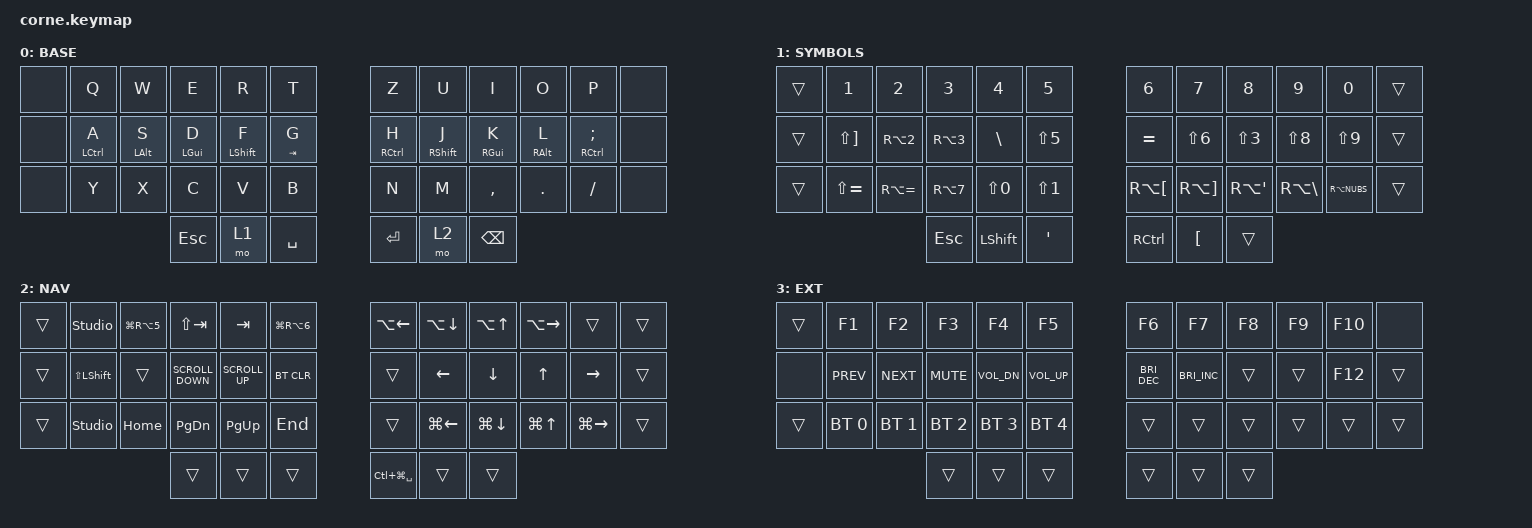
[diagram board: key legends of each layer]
#include <behaviors.dtsi>
#include <dt-bindings/zmk/bt.h>
#include <dt-bindings/zmk/keys.h>

&led_strip {
    chain-length = <0>;

    // chain-length = <27>;
    // 21 backlight + 6 glowlight
};

#define TAPPING_TERM 200

/ {
    behaviors {
        /*
    * td_lock groups locking functions into one key:
    *  - tap once to lock the host
    *  - tap twice to put the host to sleep
    */

        td_lock: tap_dance_lock {
            compatible = "zmk,behavior-tap-dance";
            label = "TAP_DANCE_LOCK";
            #binding-cells = <0>;
            tapping-term-ms = <TAPPING_TERM>;
            bindings = <&kp LG(LC(Q))>, <&kp LG(LA(C_EJECT))>;
        };

        hm: homerow_mods {
            compatible = "zmk,behavior-hold-tap";
            label = "HOMEROW_MODS";
            #binding-cells = <2>;
            tapping-term-ms = <TAPPING_TERM>;
            quick-tap-ms = <0>;
            flavor = "tap-preferred";
            bindings = <&kp>, <&kp>;
        };
    };

    combos {
        compatible = "zmk,combos";

        Clear_BLE_Profile {
            bindings = <&bt BT_CLR>;
            key-positions = <0 38 5>;
        };

        Space {
            bindings = <&kp SPACE>;
            key-positions = <29 28>;
        };

        Enter {
            bindings = <&kp ENTER>;
            key-positions = <17 16>;
        };

        Capslock {
            bindings = <&kp CLCK>;
            key-positions = <5 6>;
        };
    };

    macros {
        git_status: git_status {
            compatible = "zmk,behavior-macro";
            #binding-cells = <0>;
            bindings = <&kp G &kp I &kp T &kp SPACE &kp S &kp T &kp A &kp T &kp U &kp S>;
            label = "GIT_STATUS";
        };

        git_commit_all: git_commit_all {
            compatible = "zmk,behavior-macro";
            #binding-cells = <0>;
            bindings = <&kp G &kp I &kp T &kp SPACE &kp C &kp O &kp M &kp M &kp I &kp T &kp SPACE &kp SLASH &kp A &kp SLASH &kp M &kp SPACE &kp LS(N2) &kp LS(N2) &kp LEFT_ARROW>;
            label = "GIT_COMMIT";
        };
    };

    keymap {
        compatible = "zmk,keymap";

        base_layer {
            label = "BASE";
            bindings = <
&none  &kp Q        &kp W       &kp E       &kp R        &kp T        &kp Z        &kp U        &kp I          &kp O       &kp P           &none
&none  &hm LCTRL A  &hm LALT S  &hm LGUI D  &hm LSHFT F  &hm TAB G    &hm RCTRL H  &hm RSHFT J  &hm RGUI K     &hm RALT L  &hm RCTRL SEMI  &none
&none  &kp Y        &kp X       &kp C       &kp V        &kp B        &kp N        &kp M        &kp COMMA      &kp DOT     &kp SLASH       &none
                                &kp ESCAPE  &mo 1        &kp SPACE    &kp ENTER    &mo 2        &kp BACKSPACE
            >;
        };

        symbols_layer {
            label = "SYMBOLS";
            bindings = <
&trans  &kp N1         &kp N2         &kp N3      &kp N4         &kp N5        &kp N6        &kp N7        &kp N8        &kp N9             &kp N0        &trans
&trans  &kp LS(RBKT)   &kp RA(N2)     &kp RA(N3)  &kp BACKSLASH  &kp LS(N5)    &kp EQUAL     &kp LS(N6)    &kp LS(N3)    &kp LS(N8)         &kp LS(N9)    &trans
&trans  &kp LS(EQUAL)  &kp RA(EQUAL)  &kp RA(N7)  &kp LS(N0)     &kp LS(N1)    &kp RA(LBKT)  &kp RA(RBKT)  &kp RA(APOS)  &kp RA(BACKSLASH)  &kp RA(NUBS)  &trans
                                      &kp ESC     &kp LSHFT      &kp APOS      &kp RCTRL     &kp LBKT      &trans
            >;
        };

        nav_layer {
            label = "NAV";
            bindings = <
&trans  &studio_unlock  &kp LG(RA(N5))  &kp LS(TAB)        &kp TAB          &kp LG(RA(N6))    &kp LA(LEFT)       &kp LA(DOWN)  &kp LA(UP)  &kp LA(RIGHT)  &trans  &trans
&trans  &kp LS(LSHFT)   &trans          &kp K_SCROLL_DOWN  &kp K_SCROLL_UP  &bt BT_CLR        &trans             &kp LEFT      &kp DOWN      &kp UP      &kp RIGHT      &trans
&trans  &studio_unlock  &kp HOME        &kp PG_DN          &kp PG_UP        &kp END           &trans             &kp LG(LEFT)  &kp LG(DOWN)  &kp LG(UP)  &kp LG(RIGHT)  &trans 
                                        &trans             &trans           &trans            &kp LC(LG(SPACE))  &trans        &trans
            >;
        };

        extended_layer {
            label = "EXT";
            bindings = <
&trans  &kp F1        &kp F2        &kp F3        &kp F4        &kp F5          &kp F6                &kp F7                &kp F8  &kp F9  &kp F10  &none
&none   &kp K_PREV    &kp K_NEXT    &kp K_MUTE    &kp C_VOL_DN  &kp C_VOL_UP    &kp C_BRIGHTNESS_DEC  &kp C_BRIGHTNESS_INC  &trans  &trans  &kp F12  &trans
&trans  &bt BT_SEL 0  &bt BT_SEL 1  &bt BT_SEL 2  &bt BT_SEL 3  &bt BT_SEL 4    &trans                &trans                &trans  &trans  &trans   &trans
                                    &trans        &trans        &trans          &trans                &trans                &trans
            >;
        };
    };

    conditional_layers {
        compatible = "zmk,conditional-layers";

        Activate_EXT {
            if-layers = <1 2>;
            then-layer = <3>;
        };
    };
};
